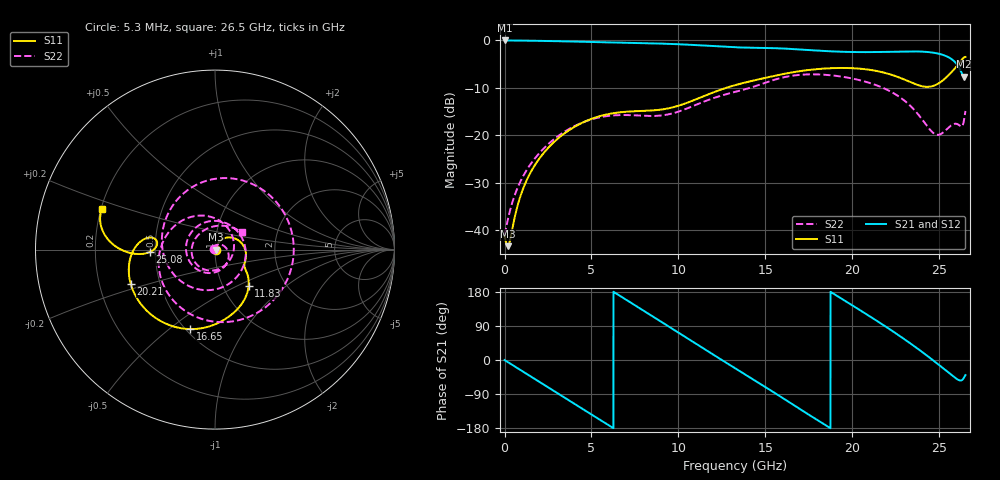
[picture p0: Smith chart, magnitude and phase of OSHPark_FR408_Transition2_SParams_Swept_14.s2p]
! TOUCHSTONE file generated by CST MICROWAVE STUDIO
! Date and time: Tue Jan  7 09:43:22 2020
! Project name: OSHPark_FR408_Transition2.cst
! Parameters = {GND_Plane_XMax=13; Cap_Disk_XOffset=0; Cap_Disk2_YCenter=-1.03; Cap_Disk_YCenter=1.03; Cap_Disk_XCenter=7.39; Cap_Disk_Radius=0.5; BottomSupport_Left_YMax=4.76; BottomSupport_Left_YMin=3.74; BottomSupport_Right_YMax=-3.74; BottomSupport_Right_YMin=-4.76; BottomSupport_XMax=11.64; Bot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
! Header version: 2015
! Port assignment regex: !\s*Touchstone port\s*([0-9]+)\s*=\s*CST MWS port\s*([0-9]+)\s*\(\"(.*)\"\)(\s*mode\s*([0-9]+))?.*
! Touchstone port assignment:
! Touchstone port 1 = CST MWS port 1 ("")
! Touchstone port 2 = CST MWS port 2 ("")
# GHz S MA R 50
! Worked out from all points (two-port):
!   5000 points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, 5.3 MHz to 26.5 GHz, reference 50 ohm
!   highest |S21| = 0.00 dB at 5.3 MHz (marker M1); lowest = -7.6 dB at 26.43 GHz (marker M2)
!   |S21| within 3 dB of the highest: start of sweep to 25.17 GHz
!   lowest |S11| = -43.4 dB at 185.5 MHz (marker M3), VSWR 1.01, Z = 50.7 + j0.00638 ohm
!   |S11| at or under -10 dB: start of sweep to 12.75 GHz
!   |S22| runs from -41.1 to -7.2 dB; largest |S21 - S12| = 0
!   S11 on the Smith chart (normalised r, x): 5.3 MHz: 1.01, -0.01; 11.83 GHz: 1.32, -0.57; 16.65 GHz: 0.53, -0.59; 20.21 GHz: 0.34, -0.18; 25.08 GHz: 0.47, -0.01; 26.5 GHz: 0.20, +0.17
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0.0053  0.00844 -34.4  1 -0.2  1 -0.2  0.00885 141.9
0.1855  0.006745 0.5  0.9995 -5.3  0.9995 -5.3  0.01272 116.0
1.1501  0.02974 65.3  0.9956 -33.2  0.9956 -33.2  0.03927 48.1
2.438  0.07105 54.7  0.9874 -70.3  0.9874 -70.3  0.07811 -16.1
4.4255  0.1342 25.3  0.969 -127.4  0.969 -127.4  0.1349 -104.1
5.5173  0.1596 8.1  0.9581 -158.6  0.9581 -158.6  0.1551 -150.9
6.5508  0.1737 -6.9  0.9486 171.8  0.9486 171.8  0.163 163.4
8.8404  0.1849 -28.2  0.9281 105.8  0.9281 105.8  0.1605 46.9
10.2025  0.2103 -34.4  0.9089 66.1  0.9089 66.1  0.1828 -30.3
11.8296  0.275 -47.0  0.8751 19.1  0.8751 19.1  0.2396 -112.6
13.2553  0.3374 -63.9  0.8471 -21.4  0.8471 -21.4  0.2867 -173.2
15.0679  0.4058 -86.5  0.8333 -73.2  0.8333 -73.2  0.3617 117.2
16.6526  0.4641 -107.4  0.8099 -119.8  0.8099 -119.8  0.4272 49.1
17.6702  0.4922 -121.7  0.7879 -149.4  0.7879 -149.4  0.4389 3.7
19.0429  0.5116 -141.1  0.764 171.4  0.764 171.4  0.4234 -56.3
20.2142  0.5072 -157.6  0.7541 138.0  0.7541 138.0  0.3888 -106.1
22.0851  0.4438 178.2  0.7591 83.1  0.7591 83.1  0.2963 173.9
23.8288  0.3359 170.3  0.7644 27.5  0.7644 27.5  0.1621 80.2
25.0796  0.3644 -177.8  0.7157 -16.7  0.7157 -16.7  0.1028 -49.5
26.0336  0.5448 178.7  0.5523 -50.9  0.5523 -50.9  0.1311 -173.2
26.4258  0.6633 164.8  0.4152 -46.0  0.4152 -46.0  0.1458 63.9
26.5  0.6694 160.0  0.4328 -39.8  0.4328 -39.8  0.1803 30.9
